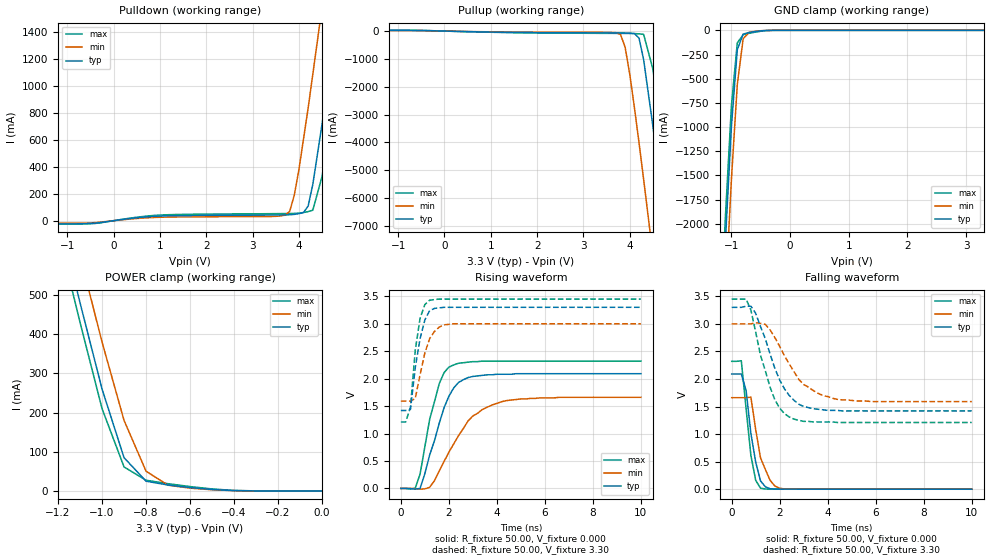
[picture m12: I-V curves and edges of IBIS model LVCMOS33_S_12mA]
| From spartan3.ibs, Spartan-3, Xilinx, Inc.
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|** Model LVCMOS33_S_12mA
[Model]   LVCMOS33_S_12mA
Model_type   I/O
Polarity   Non-Inverting
Enable   Active-Low
Vinl =   0.80V
Vinh =   2.00V
Vmeas =   1.65V
Cref =  0.000F
Rref =  10.00G
Vref =  0.000V
C_comp   6.38pF   4.60pF   8.23pF
[Temperature Range]   25.00   85.00   0.000
[Voltage Range]   3.30V   3.00V   3.45V
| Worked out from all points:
|   slope of the pulldown table from 0 to 0.495 V, typ, clamps not added: 23.2 ohm
|   slope of the pullup table from 0 to 0.495 V, typ, clamps not added: 24.8 ohm
|   GND clamp passes 1 mA (typ) near -0.38 V on its own axis
|   POWER clamp passes 1 mA (typ) near -0.41 V on its own axis
|   rising waveform, R_fixture 50.00, V_fixture 0.000: 20-80 % time 905ps typ, 1.42ns min, 686ps max; typ from 0 V to 2.09 V
|   rising waveform, R_fixture 50.00, V_fixture 3.30: 20-80 % time 420ps typ, 483ps min, 332ps max; typ from 1.42 V to 3.3 V
|   falling waveform, R_fixture 50.00, V_fixture 0.000: 20-80 % time 412ps typ, 512ps min, 356ps max; typ from 2.09 V to 0 V
|   falling waveform, R_fixture 50.00, V_fixture 3.30: 20-80 % time 1.02ns typ, 1.27ns min, 843ps max; typ from 3.3 V to 1.42 V
[Pulldown]
| voltage   I(typ)   I(min)   I(max)
-3.3V     -23.58mA   -18.32mA   -25.26mA
3.7V      42.99mA    40.98mA    53mA
3.8V      43.97mA    68.14mA    53.39mA
3.9V      47.03mA    190mA      54mA
4.1V      60.48mA    610mA      60.74mA
4.2V      110mA      840mA      67.51mA
4.3V      270mA      1.09A      78.1mA
4.5V      720mA      1.59A      330mA
4.7V      1.21A      2.1A       790mA
4.9V      1.72A      2.62A      1.29A
5.1V      2.24A      3.13A      1.8A
6.6V      6.17A      7.07A      5.73A
[Pullup]
| voltage   I(typ)   I(min)   I(max)
-3.3V     25.04mA    19.18mA    27.7mA
3.8V      -67.25mA   -120mA     -83.53mA
3.9V      -69.73mA   -580mA     -84.17mA
4V        -75.78mA   -1.55A     -85.65mA
4.1V      -89.22mA   -2.74A     -90.32mA
4.2V      -250mA     -4.01A     -99.03mA
4.3V      -1.03A     -5.33A     -120mA
4.5V      -3.42A     -8.05A     -1.37A
4.7V      -6.1A      -10.81A    -3.86A
4.9V      -8.85A     -13.6A     -6.55A
5.1V      -11.65A    -16.41A    -9.33A
6.6V      -32.99A    -37.76A    -30.65A
[GND_clamp]
| voltage   I(typ)   I(min)   I(max)
-3.3V     -32.99A    -33.47A    -32.8A
-1.2V     -3.41A     -4.01A     -3.17A
-1.1V     -2.14A     -2.73A     -1.9A
-1V       -990mA     -1.54A     -780mA
-900mV    -200mA     -560mA     -130mA
-800mV    -38.78mA   -87.51mA   -44.95mA
-700mV    -22.95mA   -20.62mA   -30.91mA
-400mV    -1.26mA    -980uA     -2.82mA
3.3V      34.79nA    95.33uA    49nA
[POWER_clamp]
| voltage   I(typ)   I(min)   I(max)
-3.3V     6.17A      6.28A      6.12A
-1.2V     710mA      840mA      660mA
-1.1V     480mA      600mA      430mA
-1V       260mA      380mA      210mA
-900mV    84.79mA    180mA      61.18mA
-800mV    24.88mA    50.29mA    27.26mA
-700mV    15.03mA    14.55mA    18.43mA
-600mV    8.66mA     7.1mA      11.09mA
-400mV    790uA      730uA      1.23mA
0V        34.79nA    120nA      59.54nA
[Ramp]
| variable   typ   min   max
dV/dt_r   1.25/0.85n   1.00/1.47n   1.39/0.63n
dV/dt_f   1.13/0.97n   0.85/1.29n   1.34/0.78n
R_load = 50.00
[Rising Waveform]
R_fixture = 50.00
V_fixture = 0.000
| time   V(typ)   V(min)   V(max)
0s        540nV      2.03uV     1uV
600ps     -13.73mV   -4.1mV     5.94mV
800ps     380uV      -13.52mV   260mV
1.2ns     610mV      20.64mV    1.26V
1.6ns     1.19V      320mV      1.91V
2ns       1.68V      660mV      2.21V
2.4ns     1.93V      960mV      2.28V
3ns       2.04V      1.32V      2.31V
4.2ns     2.08V      1.58V      2.32V
10ns      2.09V      1.66V      2.32V
[Rising Waveform]
R_fixture = 50.00
V_fixture = 3.30
V_fixture_min = 3.00
V_fixture_max = 3.45
| time   V(typ)   V(min)   V(max)
0s        1.42V      1.59V      1.21V
200ps     1.42V      1.59V      1.21V
400ps     1.44V      1.59V      1.48V
600ps     2.2V       1.64V      2.52V
800ps     2.73V      2.07V      3.1V
1ns       3.07V      2.47V      3.35V
1.2ns     3.24V      2.73V      3.43V
1.6ns     3.29V      2.94V      3.45V
2.2ns     3.3V       3V         3.45V
10ns      3.3V       3V         3.45V
[Falling Waveform]
R_fixture = 50.00
V_fixture = 0.000
| time   V(typ)   V(min)   V(max)
0s        2.09V      1.66V      2.32V
400ps     2.09V      1.66V      2.33V
600ps     1.79V      1.66V      1.46V
800ps     1.01V      1.67V      610mV
1ns       490mV      1.08V      160mV
1.2ns     150mV      570mV      19.3mV
1.4ns     44.28mV    360mV      2.91mV
1.6ns     7.6mV      160mV      980uV
2ns       890uV      16.52mV    420uV
10ns      2uV        2.27uV     1.96uV
[Falling Waveform]
R_fixture = 50.00
V_fixture = 3.30
V_fixture_min = 3.00
V_fixture_max = 3.45
| time   V(typ)   V(min)   V(max)
0s        3.3V       3V         3.45V
600ps     3.32V      3V         3.45V
800ps     3.32V      3V         3.25V
1ns       3.19V      3.02V      2.85V
1.2ns     2.95V      3.01V      2.43V
1.8ns     2.19V      2.75V      1.62V
2.4ns     1.7V       2.27V      1.31V
3ns       1.5V       1.9V       1.23V
4.4ns     1.43V      1.63V      1.21V
10ns      1.42V      1.59V      1.21V
